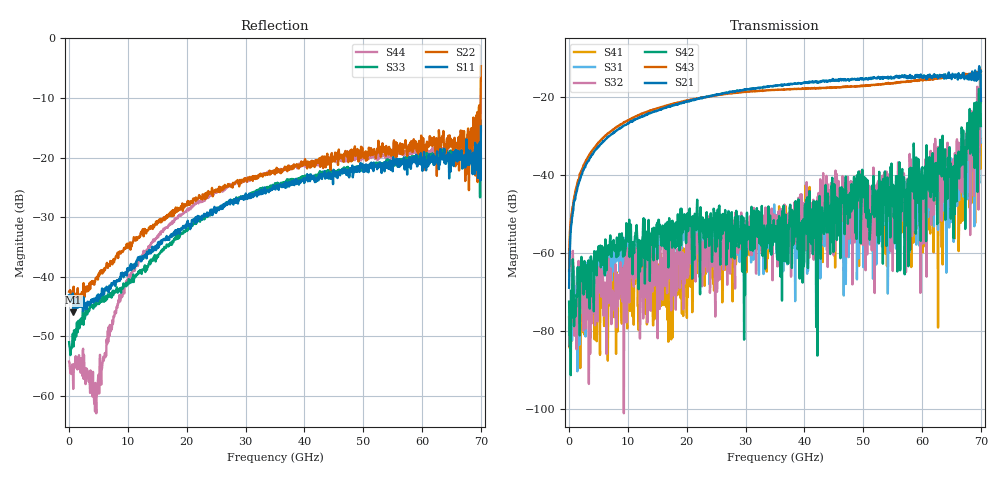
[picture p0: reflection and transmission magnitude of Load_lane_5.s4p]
! 4/13/2026 10:39:38 AM
! C:\ANRITSUVNA\DATA\SARA\2026-04-13 T5 MZDRV\DEEMB STRUCTURES\50OHM_2.S4P
! CHANNEL.1
! TR.MEASUREMENT
! CORRECTED.DATA
! RF.CORRECTION: FULL.FOUR.PORT.CAL.PORT.1.2.3.4
! AVERAGING.OFF
! IF.BANDWIDTH: 1KHZ
! SWEEPTYPE:  FREQ.SWEEP(Linear)
! Reference Plane Port Info
! PORT:  PORT1  PORT2  PORT3  PORT4
! DISTANCE:  0  m  0  m  0  m  0  m
! TIME:  0  s  0  s  0  s  0  s
! PHASE.OFFSET:  0 °  0 °  0 °  0 °
! LOSS:  0  dB  0  dB  0  dB  0  dB
! REF.LOSS:  0  dB  0  dB  0  dB  0  dB
! REF.FREQ:  0  Hz  0  Hz  0  Hz  0  Hz
! Power Info
! POWER:  -20  dBm  -20  dBm  -20  dBm  -20  dBm
! EFF.POWER:  -20  dBm  -20  dBm  -20  dBm  -20  dBm
! SOURCE.ATTEN:  0  dB  0  dB  0  dB  0  dB
! TEST.ATTEN:  0  dB  0  dB  0  dB  0  dB
# HZ S DB R 50.0
! FREQ.HZ  S11DB  S11A  S12DB  S12A  S13DB  S13A  S14DB  S14A
!  S21DB  S21A  S22DB  S22A  S23DB  S23A  S24DB  S24A
!  S31DB  S31A  S32DB  S32A  S33DB  S33A  S34DB  S34A
!  S41DB  S41A  S42DB  S42A  S43DB  S43A  S44DB  S44A
!; PortSelection: Port_1234
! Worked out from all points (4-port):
!   1001 points, 10 MHz to 70 GHz, reference 50 ohm
!   strongest paths, dB at 10 MHz, 17.51 GHz, 35.01 GHz, 52.5 GHz, 70 GHz:
!     S21: -69.0, -22.4, -17.3, -15.1, -21.1
!     S43: -64.7, -21.9, -18.3, -16.8, -13.6
!     S42: -72.6, -58.7, -53.1, -44.0, -27.5
!     S32: -76.7, -68.0, -50.6, -41.8, -21.1
!     S31: -79.2, -59.3, -51.6, -46.5, -31.8
!     S41: -76.5, -78.2, -55.0, -45.2, -30.8
!   lowest |S11| = -46.0 dB at 709.9 MHz (marker M1), VSWR 1.01, Z = 49.5 + j0.0392 ohm
!   |S11| at or under -10 dB: start of sweep to end of sweep
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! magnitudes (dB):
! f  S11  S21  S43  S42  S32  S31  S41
! 10 MHz  -43.1  -69.0  -64.7  -72.6  -76.7  -79.2  -76.5
! 709.9 MHz  -46.0  -49.2  -47.4  -64.1  -63.9  -63.5  -67.5
! 4.489 GHz  -43.9  -33.7  -32.7  -62.1  -69.2  -67.9  -71.4
! 13.17 GHz  -36.9  -24.7  -23.9  -55.2  -66.6  -56.6  -69.6
! 60.06 GHz  -22.2  -14.8  -15.8  -38.1  -57.7  -50.9  -44.3
! 65.24 GHz  -20.0  -14.5  -14.9  -41.5  -36.9  -49.2  -44.6
! 70 GHz  -14.8  -21.1  -13.6  -27.5  -21.1  -31.8  -30.8
